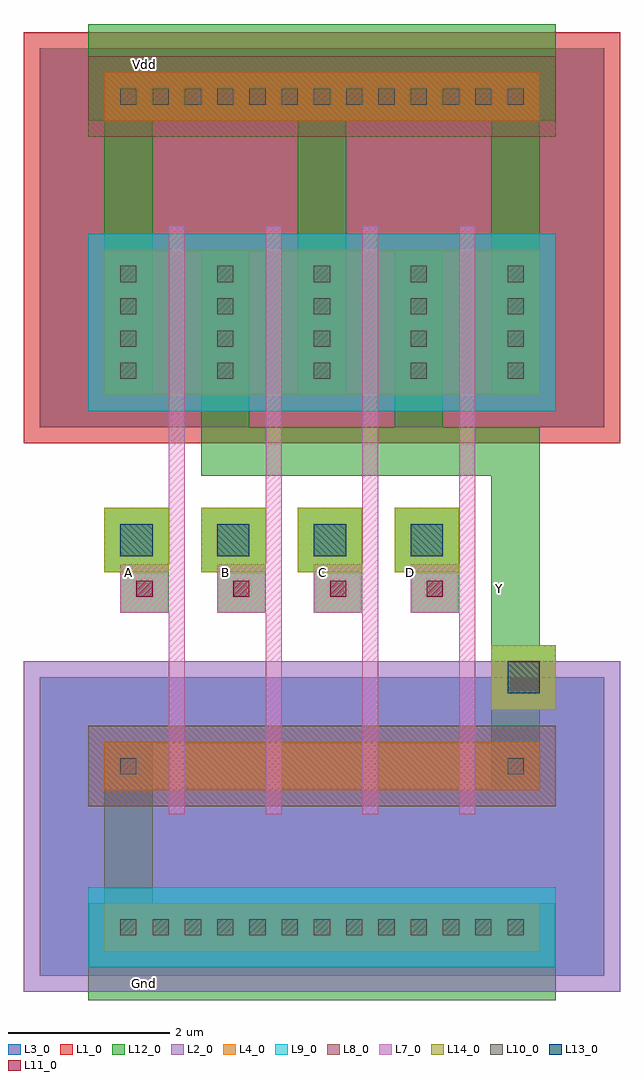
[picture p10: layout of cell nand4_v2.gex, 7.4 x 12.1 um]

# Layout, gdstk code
import gdstk
lib = gdstk.Library(unit=1e-6, precision=1e-09)
def R(c, l, rs):  # rectangles x0, y0, x1, y1
    for r in rs: c.add(gdstk.rectangle(r[:2], r[2:], *l))
def A(c, l, x, y, w, h, nx, ny, dx, dy):  # array of equal rectangles
    R(c, l, [(x+i*dx, y+j*dy, x+i*dx+w, y+j*dy+h) for i in range(nx) for j in range(ny)])
L1_0 = (1, 0)
L2_0 = (2, 0)
L3_0 = (3, 0)
L4_0 = (4, 0)
L7_0 = (7, 0)
L8_0 = (8, 0)
L9_0 = (9, 0)
L10_0 = (10, 0)
L11_0 = (11, 0)
L12_0 = (12, 0)
L13_0 = (13, 0)
L14_0 = (14, 0)

nand4_v2_gex = lib.new_cell('nand4_v2.gex')
R(nand4_v2_gex, L1_0, [(-0.8,6.9,6.6,12)])
R(nand4_v2_gex, L2_0, [(-0.8,0.1,6.6,4.2)])
R(nand4_v2_gex, L3_0, [(-0.6,0.3,6.4,4), (-0.6,7.1,6.4,11.8)])
R(nand4_v2_gex, L4_0, [(0.2,0.6,5.6,1.2), (0.2,2.6,5.6,3.2), (0.2,7.5,5.6,9.3), (0.2,10.9,5.6,11.5)])
A(nand4_v2_gex, L7_0, 1, 2.3, 0.2, 7.3, 4, 1, 1.2, 0)
A(nand4_v2_gex, L7_0, 0.4, 4.8, 0.6, 0.6, 4, 1, 1.2, 0)
R(nand4_v2_gex, L8_0, [(0,2.4,5.8,3.4), (0,10.7,5.8,11.7)])
R(nand4_v2_gex, L9_0, [(0,0.4,5.8,1.4), (0,7.3,5.8,9.5)])
A(nand4_v2_gex, L10_0, 0.4, 0.8, 0.2, 0.2, 13, 2, 0.4, 10.3)
A(nand4_v2_gex, L10_0, 0.4, 7.7, 0.2, 0.2, 5, 4, 1.2, 0.4)
R(nand4_v2_gex, L10_0, [(0.4,2.8,0.6,3), (5.2,2.8,5.4,3)])
A(nand4_v2_gex, L11_0, 0.6, 5, 0.2, 0.2, 4, 1, 1.2, 0)
A(nand4_v2_gex, L12_0, 0.4, 4.8, 0.6, 0.6, 4, 1, 1.2, 0)
A(nand4_v2_gex, L12_0, 0.2, 5.3, 0.8, 0.8, 4, 1, 1.2, 0)
A(nand4_v2_gex, L12_0, 0.2, 7.5, 0.6, 3.4, 3, 1, 2.4, 0)
R(nand4_v2_gex, L12_0, [(0,0,5.8,1.2), (0.2,1.2,0.8,3.2), (5,2.6,5.6,7.1), (5,3.6,5.8,4.4), (1.4,6.5,5,7.1), (1.4,7.1,2,9.3), (3.8,7.1,4.4,9.3), (0,10.9,5.8,12.1)])
A(nand4_v2_gex, L13_0, 0.4, 5.5, 0.4, 0.4, 4, 1, 1.2, 0)
R(nand4_v2_gex, L13_0, [(5.2,3.8,5.6,4.2)])
A(nand4_v2_gex, L14_0, 0.2, 5.3, 0.8, 0.8, 4, 1, 1.2, 0)
R(nand4_v2_gex, L14_0, [(5,3.6,5.8,4.4)])
nand4_v2_gex.add(gdstk.Label('Vdd', (0.7,11.6), layer=12, texttype=0))
nand4_v2_gex.add(gdstk.Label('D', (4,5.3), layer=12, texttype=0))
nand4_v2_gex.add(gdstk.Label('Y', (5.1,5.1), layer=12, texttype=0))
nand4_v2_gex.add(gdstk.Label('A', (0.5,5.3), layer=12, texttype=0))
nand4_v2_gex.add(gdstk.Label('B', (1.7,5.3), layer=12, texttype=0))
nand4_v2_gex.add(gdstk.Label('Gnd', (0.7,0.2), layer=12, texttype=0))
nand4_v2_gex.add(gdstk.Label('C', (2.9,5.3), layer=12, texttype=0))

lib.write_gds('nand4_v2.gex.gds')
